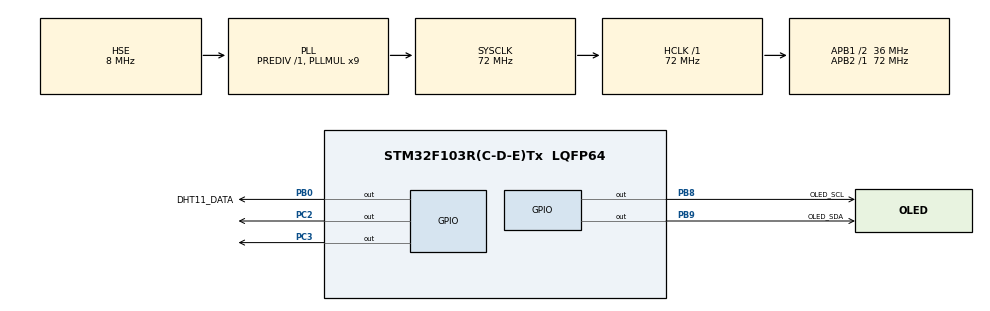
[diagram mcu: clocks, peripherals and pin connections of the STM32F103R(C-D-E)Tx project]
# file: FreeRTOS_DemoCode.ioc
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FREERTOS.Tasks01=defaultTask,24,128,StartDefaultTask,Default,NULL,Dynamic,NULL,NULL;uiTask,16,1024,StartUiTask,Default,NULL,Dynamic,NULL,NULL
FREERTOS.configTOTAL_HEAP_SIZE=8192
Mcu.Family=STM32F1
Mcu.Name=STM32F103R(C-D-E)Tx
Mcu.Package=LQFP64
NVIC.PriorityGroup=NVIC_PRIORITYGROUP_4
NVIC.TIM4_IRQn=true\:15\:0\:false\:false\:true\:false\:false\:true\:true
NVIC.TimeBase=TIM4_IRQn
NVIC.TimeBaseIP=TIM4
PA13.Mode=Serial_Wire
PA13.Signal=SYS_JTMS-SWDIO
PA14.Mode=Serial_Wire
PA14.Signal=SYS_JTCK-SWCLK
PB0.GPIO_Label=DHT11_DATA
PB0.GPIO_ModeDefaultOutputPP=GPIO_MODE_OUTPUT_OD
PB0.GPIO_PuPd=GPIO_NOPULL
PB0.PinState=GPIO_PIN_SET
PB0.Signal=GPIO_Output
PB8.GPIO_Label=OLED_SCL
PB8.GPIO_ModeDefaultOutputPP=GPIO_MODE_OUTPUT_OD
PB8.GPIO_PuPd=GPIO_NOPULL
PB8.GPIO_Speed=GPIO_SPEED_FREQ_LOW
PB8.PinState=GPIO_PIN_SET
PB8.Signal=GPIO_Output
PB9.GPIO_Label=OLED_SDA
PB9.GPIO_ModeDefaultOutputPP=GPIO_MODE_OUTPUT_OD
PB9.GPIO_PuPd=GPIO_NOPULL
PB9.GPIO_Speed=GPIO_SPEED_FREQ_LOW
PB9.PinState=GPIO_PIN_SET
PB9.Signal=GPIO_Output
PC2.GPIO_ModeDefaultOutputPP=GPIO_MODE_OUTPUT_PP
PC2.Signal=GPIO_Output
PC3.Signal=GPIO_Output
PD0-OSC_IN.Mode=HSE-External-Oscillator
PD0-OSC_IN.Signal=RCC_OSC_IN
PD1-OSC_OUT.Mode=HSE-External-Oscillator
PD1-OSC_OUT.Signal=RCC_OSC_OUT
ProjectManager.HeapSize=0x200
ProjectManager.StackSize=0x400
ProjectManager.TargetToolchain=MDK-ARM V5.32
RCC.AHBFreq_Value=72000000
RCC.APB1CLKDivider=RCC_HCLK_DIV2
RCC.APB1Freq_Value=36000000
RCC.APB1TimFreq_Value=72000000
RCC.APB2Freq_Value=72000000
RCC.APB2TimFreq_Value=72000000
RCC.HCLKFreq_Value=72000000
RCC.PLLMUL=RCC_PLL_MUL9
RCC.PLLSourceVirtual=RCC_PLLSOURCE_HSE
RCC.SYSCLKFreq_VALUE=72000000
RCC.SYSCLKSource=RCC_SYSCLKSOURCE_PLLCLK
RCC.USBFreq_Value=72000000
VP_FREERTOS_VS_CMSIS_V2.Mode=CMSIS_V2
VP_SYS_VS_tim4.Mode=TIM4
board=custom

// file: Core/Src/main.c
/* USER CODE BEGIN Header */
/**
  ******************************************************************************
  * @file           : main.c
  * @brief          : Main program body
  ******************************************************************************
  * @attention
  *
  * Copyright (c) 2026 STMicroelectronics.
  * All rights reserved.
  *
  * This software is licensed under terms that can be found in the LICENSE file
  * in the root directory of this software component.
  * If no LICENSE file comes with this software, it is provided AS-IS.
  *
  ******************************************************************************
  */
/* USER CODE END Header */
#include "main.h"
#include "cmsis_os.h"
#include "gpio.h"

/* USER CODE BEGIN Includes */
#include "lvgl.h"

#include "b_soft_i2c.h"
#include "b_oled.h"

/* USER CODE END Includes */

void SystemClock_Config(void);
void MX_FREERTOS_Init(void);

int main(void)
{

  /* MCU Configuration--------------------------------------------------------*/

  /* Reset of all peripherals, Initializes the Flash interface and the Systick. */
  HAL_Init();

  /* Configure the system clock */
  SystemClock_Config();

  /* Initialize all configured peripherals */
  MX_GPIO_Init();

  /* Init scheduler */
  osKernelInitialize();

  /* Call init function for freertos objects (in cmsis_os2.c) */
  MX_FREERTOS_Init();

  /* Start scheduler */
  osKernelStart();

  /* We should never get here as control is now taken by the scheduler */

  /* Infinite loop */
  while (1)
  {

  }
}

void SystemClock_Config(void)
{
  RCC_OscInitTypeDef RCC_OscInitStruct = {0};
  RCC_ClkInitTypeDef RCC_ClkInitStruct = {0};

  /** Initializes the RCC Oscillators according to the specified parameters
  * in the RCC_OscInitTypeDef structure.
  */
  RCC_OscInitStruct.OscillatorType = RCC_OSCILLATORTYPE_HSE;
  RCC_OscInitStruct.HSEState = RCC_HSE_ON;
  RCC_OscInitStruct.HSEPredivValue = RCC_HSE_PREDIV_DIV1;
  RCC_OscInitStruct.HSIState = RCC_HSI_ON;
  RCC_OscInitStruct.PLL.PLLState = RCC_PLL_ON;
  RCC_OscInitStruct.PLL.PLLSource = RCC_PLLSOURCE_HSE;
  RCC_OscInitStruct.PLL.PLLMUL = RCC_PLL_MUL9;
  if (HAL_RCC_OscConfig(&RCC_OscInitStruct) != HAL_OK)
  {
    Error_Handler();
  }

  /** Initializes the CPU, AHB and APB buses clocks
  */
  RCC_ClkInitStruct.ClockType = RCC_CLOCKTYPE_HCLK|RCC_CLOCKTYPE_SYSCLK
                              |RCC_CLOCKTYPE_PCLK1|RCC_CLOCKTYPE_PCLK2;
  RCC_ClkInitStruct.SYSCLKSource = RCC_SYSCLKSOURCE_PLLCLK;
  RCC_ClkInitStruct.AHBCLKDivider = RCC_SYSCLK_DIV1;
  RCC_ClkInitStruct.APB1CLKDivider = RCC_HCLK_DIV2;
  RCC_ClkInitStruct.APB2CLKDivider = RCC_HCLK_DIV1;

  if (HAL_RCC_ClockConfig(&RCC_ClkInitStruct, FLASH_LATENCY_2) != HAL_OK)
  {
    Error_Handler();
  }
}

void HAL_TIM_PeriodElapsedCallback(TIM_HandleTypeDef *htim)
{
  if (htim->Instance == TIM4) {
    HAL_IncTick();
  }
}

void Error_Handler(void)
{
  __disable_irq();
  while (1)
  {
  }
}

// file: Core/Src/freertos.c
/* USER CODE BEGIN Header */
/**
  ******************************************************************************
  * File Name          : freertos.c
  * Description        : Code for freertos applications
  ******************************************************************************
  * @attention
  *
  * Copyright (c) 2026 STMicroelectronics.
  * All rights reserved.
  *
  * This software is licensed under terms that can be found in the LICENSE file
  * in the root directory of this software component.
  * If no LICENSE file comes with this software, it is provided AS-IS.
  *
  ******************************************************************************
  */
/* USER CODE END Header */

#include "FreeRTOS.h"
#include "task.h"
#include "main.h"
#include "cmsis_os.h"

/* USER CODE BEGIN Includes */
#include "lv_port_disp.h"
#include "b_soft_i2c.h"
#include "b_dht11.h"
#include "s_sensor.h"

/* USER CODE END Includes */

/* USER CODE BEGIN PTD */
typedef enum
{
    UI_HOME_TITLE = 0, // 首页标题
    UI_HOME_TEMP,      // 温度显示
    UI_HOME_HUMI,      // 湿度显示
    UI_HOME_STATUS,    // 传感器状态
    UI_HOME_RUNTIME,   // 运行时间
    UI_HOME_COUNT      // 首页 Label 总数量，不作为有效控件编号
} UiHomeLabelId;// 首页 Label ID

/* USER CODE END PTD */

/* USER CODE BEGIN Variables */
/* 任务创建 */
osThreadId_t sensorTaskHandle; // 采集任务句柄
static const osThreadAttr_t sensorTask_attributes = // 采集任务创建属性
{
    .name = "sensorTask", // 调试器中显示的任务名称
    .stack_size = 1024U, // 任务栈大小，CMSIS-RTOS2 此字段单位为字节
    .priority = osPriorityNormal // 高于当前 UI 任务的 BelowNormal 优先级
};

/* 变量定义 */
volatile uint8_t g_ui_state; // 界面任务运行阶段，供调试器观察
static lv_obj_t *s_home_labels[UI_HOME_COUNT]; // 首页控件指针数组，静态初始化为空指针

/* USER CODE END Variables */
/* Definitions for defaultTask */
osThreadId_t defaultTaskHandle;
const osThreadAttr_t defaultTask_attributes = {
  .name = "defaultTask",
  .stack_size = 128 * 4,
  .priority = (osPriority_t) osPriorityNormal,
};
/* Definitions for uiTask */
osThreadId_t uiTaskHandle;
const osThreadAttr_t uiTask_attributes = {
  .name = "uiTask",
  .stack_size = 1024 * 4,
  .priority = (osPriority_t) osPriorityBelowNormal,
};

/* USER CODE BEGIN FunctionPrototypes */
static uint8_t Ui_HomeCreate(void);// 首页创建
static void Ui_HomeUpdate(void); // 首页更新
static void StartSensorTask(void *argument);// 传感器任务

/* USER CODE END FunctionPrototypes */

void StartDefaultTask(void *argument);
void StartUiTask(void *argument);

void MX_FREERTOS_Init(void); /* (MISRA C 2004 rule 8.1) */

void MX_FREERTOS_Init(void) {

  /* Create the thread(s) */
  /* creation of defaultTask */
  defaultTaskHandle = osThreadNew(StartDefaultTask, NULL, &defaultTask_attributes);

  /* creation of uiTask */
  uiTaskHandle = osThreadNew(StartUiTask, NULL, &uiTask_attributes);

  /* USER CODE BEGIN RTOS_THREADS */
  /* add threads, ... */
  sensorTaskHandle = osThreadNew(StartSensorTask, NULL, &sensorTask_attributes); // 创建独立采集任务

  if (sensorTaskHandle == NULL)
  {
      Error_Handler(); // 创建失败，停止运行并便于调试定位
  }

  /* USER CODE END RTOS_THREADS */

}

void StartDefaultTask(void *argument)
{
  /* USER CODE BEGIN StartDefaultTask */
  /* Infinite loop */
  for(;;)
  {
    HAL_GPIO_WritePin(GPIOC,GPIO_PIN_2, GPIO_PIN_SET);
    HAL_GPIO_WritePin(GPIOC,GPIO_PIN_3, GPIO_PIN_RESET);
    osDelay(500);
    HAL_GPIO_WritePin(GPIOC,GPIO_PIN_3, GPIO_PIN_SET);
    HAL_GPIO_WritePin(GPIOC,GPIO_PIN_2, GPIO_PIN_RESET);
    osDelay(500);
  }
  /* USER CODE END StartDefaultTask */
}

void StartUiTask(void *argument)
{
  /* USER CODE BEGIN StartUiTask */
  uint32_t last_update_ms; // 上一次计时更新的基准时刻，单位：毫秒
  uint32_t now_ms; // 当前时刻，单位：毫秒
  uint32_t elapsed_seconds; // 距离计时基准已经经过的完整秒数
  uint32_t run_seconds = 0U; // 界面初始化完成后的累计运行秒数

  (void)argument;
  g_ui_state = 1U;

  I2C_MasterInit();
  osDelay(100U);

  lv_init();

  /* 使用已有的毫秒时基，不再另外调用滴答递增接口 */
  lv_tick_set_cb(HAL_GetTick);

  g_ui_state = 2U;
  if (LV_PortDisp_Init() == NULL)
  {
      g_ui_state = 0xE1U;

      for (;;)
      {
          osDelay(1000U);
      }
  }

  g_ui_state = 3U; // 开始创建首页

  if (Ui_HomeCreate() == 0U)
  {
      g_ui_state = 0xE2U; // 首页创建失败

      for (;;)
      {
          osDelay(1000U); // 停止后续初始化，并让其他任务运行
      }
  }

  last_update_ms = HAL_GetTick(); // 首页创建完成，从此刻开始计时
  g_ui_state = 4U; // 首页初始化完成

  for (;;)
  {
      now_ms = HAL_GetTick(); // 获取当前毫秒时刻
      elapsed_seconds = (now_ms - last_update_ms) / 1000U; // 计算已经过去的完整秒数

      if (elapsed_seconds != 0U)
      {
          run_seconds += elapsed_seconds; // 累加实际经过的秒数，任务延迟时也能补上
          last_update_ms += elapsed_seconds * 1000U; // 推进计时基准，保留不足一秒的时间余量

          lv_label_set_text_fmt(s_home_labels[UI_HOME_RUNTIME], "RUN : %lu s", (unsigned long)run_seconds); // 更新首页运行时间
      }
      Ui_HomeUpdate(); // 从服务获取快照，有新结果时更新首页
      lv_timer_handler(); // 处理 LVGL 定时器、绘制和刷新
      osDelay(10U); // 当前配置下阻塞约 10 毫秒
  }
  /* USER CODE END StartUiTask */
}

/* USER CODE BEGIN Application */
/**
 * @brief  创建温湿度监测首页，并设置初始文字、样式和位置
 * @param  无
 * @return 创建成功返回 1；Label 创建返回空指针时，清理已创建的控件并返回 0
 * @note   由 UI 任务在 LVGL 和显示设备初始化完成后调用一次。
 *         本函数只负责创建界面，不采集传感器数据，也不执行周期刷新。
 */
static uint8_t Ui_HomeCreate(void)
{
    uint8_t i; // 当前创建或清理的 Label 索引

    static const char * const initial_texts[UI_HOME_COUNT] = // 按首页元素编号排列的初始文字
    {
        "DHT11 MONITOR", // UI_HOME_TITLE：首页标题
        "TEMP: -- C",    // UI_HOME_TEMP：尚未取得有效温度
        "HUM : -- %RH",  // UI_HOME_HUMI：尚未取得有效湿度
        "STAT: WAIT",    // UI_HOME_STATUS：等待接入传感器
        "RUN : 0 s"     // UI_HOME_RUNTIME：初始运行时间
    };

    lv_obj_set_style_bg_color(lv_screen_active(), lv_color_black(), LV_PART_MAIN); // 设置屏幕背景为黑色
    lv_obj_set_style_bg_opa(lv_screen_active(), LV_OPA_COVER, LV_PART_MAIN); // 设置背景完全不透明

    for (i = 0U; i < UI_HOME_COUNT; i++)
    {
        s_home_labels[i] = lv_label_create(lv_screen_active()); // 在当前屏幕上创建 Label

        if (s_home_labels[i] == NULL)
        {
            while (i > 0U)
            {
                i--;
                lv_obj_delete(s_home_labels[i]); // 删除本次已经创建的 Label
                s_home_labels[i] = NULL; // 清空已失效的控件指针
            }

            return 0U;
        }

        lv_obj_set_style_text_font(s_home_labels[i], &lv_font_unscii_8, LV_PART_MAIN); // 使用单色点阵字体
        lv_obj_set_style_text_color(s_home_labels[i], lv_color_white(), LV_PART_MAIN); // 设置文字颜色为白色
        lv_obj_set_style_text_align(s_home_labels[i], LV_TEXT_ALIGN_LEFT, LV_PART_MAIN); // 设置文字左对齐

        lv_obj_set_size(s_home_labels[i], 120, 10); // 设置控件宽度为 120、高度为 10 像素
        lv_label_set_text(s_home_labels[i], initial_texts[i]); // 设置初始文字
        lv_obj_align(s_home_labels[i], LV_ALIGN_TOP_LEFT, 4, (int32_t)(12U + 10U * i)); // 设置左侧偏移为 4 像素、顶部偏移为 12 像素，各行间隔 10 像素
    }

    lv_obj_set_style_text_align(s_home_labels[UI_HOME_TITLE], LV_TEXT_ALIGN_CENTER, LV_PART_MAIN); // 将标题文字居中

    return 1U;
}

/**
 * @brief  获取传感器快照，并按需更新首页
 * @param  无
 * @return 无
 * @note   只由 UI 任务调用，临时快照不作为共享缓存保存。
 */
static void Ui_HomeUpdate(void)
{
    SensorSnapshot snapshot; // 本次显示使用的临时快照
    int32_t temperature; // 温度绝对值乘以 10，使用 32 位类型便于安全取负
    static uint32_t last_sequence; // UI 已处理的发布序号，初始值为 0

    if (Sensor_GetLatest(&snapshot) == 0U)
    {
        return;
    }

    if (snapshot.sequence == last_sequence)
    {
        return; // 没有新结果，保持当前文字
    }

    last_sequence = snapshot.sequence;

    if (snapshot.valid != 0U)
    {
        temperature = snapshot.temperature_x10;

        if (temperature < 0)
        {
            temperature = -temperature;
        }

        lv_label_set_text_fmt(s_home_labels[UI_HOME_TEMP], "TEMP: %s%lu.%lu C", (snapshot.temperature_x10 < 0) ? "-" : "", (unsigned long)(temperature / 10), (unsigned long)(temperature % 10)); // 显示带符号的一位小数温度
        lv_label_set_text_fmt(s_home_labels[UI_HOME_HUMI], "HUM : %u.%u %%RH", (unsigned int)(snapshot.humidity_x10 / 10U), (unsigned int)(snapshot.humidity_x10 % 10U)); // 使用 %% 输出一个百分号
    }
    else
    {
        lv_label_set_text(s_home_labels[UI_HOME_TEMP], "TEMP: -- C"); // 尚无有效温度
        lv_label_set_text(s_home_labels[UI_HOME_HUMI], "HUM : -- %RH"); // 尚无有效湿度
    }

    if ((snapshot.last_status == DHT11_STATUS_OK) && (snapshot.valid != 0U))
    {
        lv_label_set_text(s_home_labels[UI_HOME_STATUS], "STAT: OK"); // 本次采集成功
    }
    else if (snapshot.valid != 0U)
    {
        lv_label_set_text(s_home_labels[UI_HOME_STATUS], "STAT: OLD"); // 本次失败，显示的是上次成功值
    }
    else
    {
        lv_label_set_text(s_home_labels[UI_HOME_STATUS], "STAT: ERR"); // 尚无有效数据且采集失败
    }
}

/**
 * @brief  初始化传感器服务，并周期触发采集
 * @param  argument  任务参数，当前未使用
 * @return 无，任务持续循环运行
 * @note   温湿度采集及数据缓存均由服务处理，任务只负责调度。
 */
static void StartSensorTask(void *argument)
{
    (void)argument;

    if (Sensor_Init() == 0U)
    {
        for (;;)
        {
            osDelay(1000U); // 初始化失败后阻塞，UI 仍可获取错误状态
        }
    }

    osDelay(1100U); // 等待传感器上电稳定

    for (;;)
    {
        Sensor_CollectOnce(); // 完成一次采集并发布结果
        osDelay(3000U); // 当前配置下阻塞约 3 秒
    }
}

/* USER CODE END Application */
